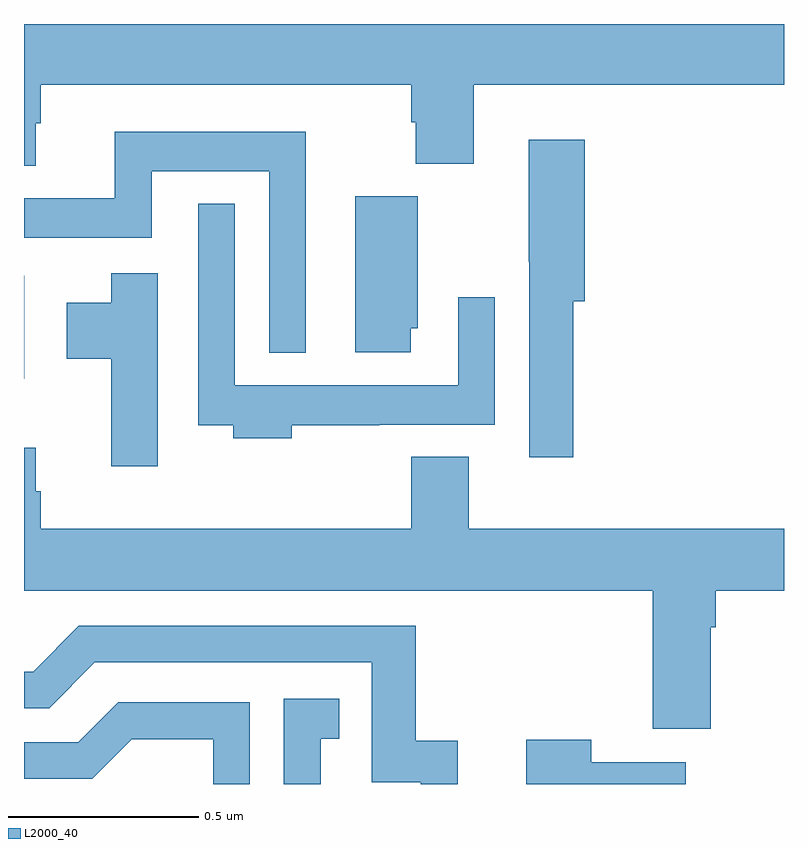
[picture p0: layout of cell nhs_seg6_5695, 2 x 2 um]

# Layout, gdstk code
import gdstk
lib = gdstk.Library(unit=1e-6, precision=1e-09)
def R(c, l, rs):  # rectangles x0, y0, x1, y1
    for r in rs: c.add(gdstk.rectangle(r[:2], r[2:], *l))
def P(c, l, *ps):  # polygons
    for p in ps: c.add(gdstk.Polygon(p, *l))
L2000_40 = (2000, 40)

nhs_seg6_5695 = lib.new_cell('nhs_seg6_5695')
R(nhs_seg6_5695, L2000_40, [(186,942.566,186.001,942.838)])
P(nhs_seg6_5695, L2000_40, [(186,943.127),(186.031,943.127),(186.031,943.239),(186.044,943.239),(186.044,943.34),(187.019,943.34),(187.019,943.241),(187.031,943.241),(187.031,943.132),(187.184,943.132),(187.184,943.34),(188,943.34),(188,943.5),(186,943.5)],
  [(186.742,943.216),(186.239,943.216),(186.239,943.042),(186,943.042),(186,942.938),(186.336,942.938),(186.336,943.112),(186.645,943.112),(186.645,942.635),(186.742,942.635)],
  [(187.445,942.77),(187.475,942.77),(187.475,943.195),(187.328,943.195),(187.328,942.874),(187.329,942.874),(187.329,942.36),(187.445,942.36)],
  [(187.018,942.699),(187.036,942.699),(187.036,943.047),(186.872,943.047),(186.872,942.636),(187.018,942.636)],
  [(186.704,942.444),(186.935,942.444),(186.935,942.446),(187.239,942.446),(187.239,942.781),(187.143,942.781),(187.143,942.55),(186.555,942.55),(186.555,943.027),(186.459,943.027),(186.459,942.444),(186.551,942.444),(186.551,942.41),(186.704,942.41)],
  [(186.352,942.844),(186.23,942.844),(186.23,942.766),(186.113,942.766),(186.113,942.619),(186.23,942.619),(186.23,942.336),(186.352,942.336)],
  [(187.807,941.912),(187.82,941.912),(187.82,942.008),(188,942.008),(188,942.172),(187.171,942.172),(187.171,942.361),(187.019,942.361),(187.019,942.172),(186.044,942.172),(186.044,942.27),(186.031,942.27),(186.031,942.385),(186,942.385),(186,942.008),(187.655,942.008),(187.655,941.646),(187.807,941.646)],
  [(187.142,941.614),(187.031,941.614),(187.031,941.916),(186.144,941.916),(186.024,941.796),(186,941.796),(186,941.7),(186.066,941.7),(186.186,941.82),(186.915,941.82),(186.915,941.505),(187.044,941.505),(187.044,941.5),(187.142,941.5)],
  [(186.781,941.619),(186.83,941.619),(186.83,941.725),(186.684,941.725),(186.684,941.5),(186.781,941.5)],
  [(186.594,941.715),(186.248,941.715),(186.143,941.61),(186,941.61),(186,941.514),(186.18,941.514),(186.284,941.618),(186.498,941.618),(186.498,941.5),(186.594,941.5)],
  [(187.741,941.557),(187.493,941.557),(187.493,941.617),(187.322,941.617),(187.322,941.5),(187.741,941.5)])

lib.write_gds('nhs_seg6_5695.gds')
